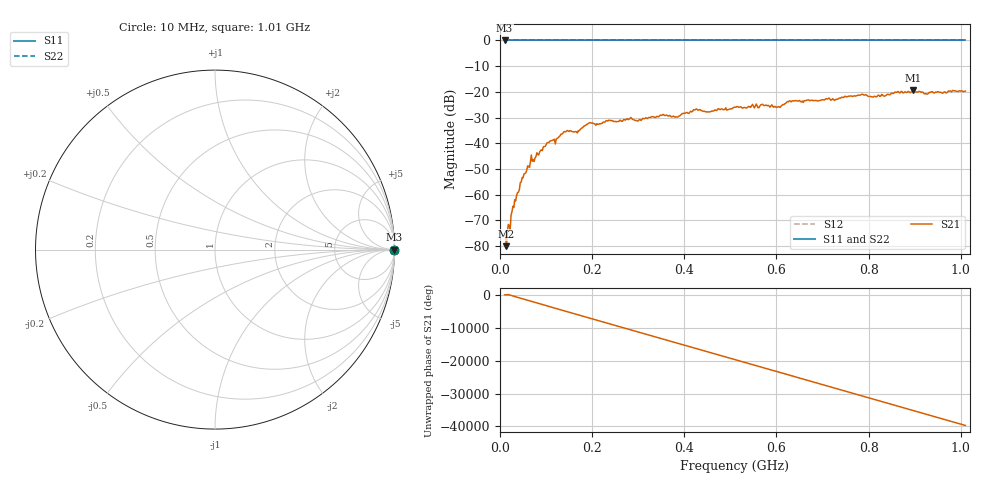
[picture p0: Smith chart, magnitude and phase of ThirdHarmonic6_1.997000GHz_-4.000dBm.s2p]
! 8/16/2025 11:59:37 PM
! C:\ANRITSUVNA\TEMP\TEMP.S2P
! CHANNEL.1
! TR.MEASUREMENT
! RAW.DATA
! RF.CORRECTION.OFF
! AVERAGING.OFF
! IF.BANDWIDTH: 5KHZ
! SWEEPTYPE:  FREQ.SWEEP(Linear)
! Reference Plane Port Info
! PORT:  PORT1  PORT2
! DISTANCE:  0  m  0  m
! TIME:  0  s  0  s
! PHASE.OFFSET:  0  deg.  0  deg.
! LOSS:  0  dB  0  dB
! REF.LOSS:  0  dB  0  dB
! REF.FREQ:  0  Hz  0  Hz
! Power Info
! POWER:  -20  dBm  -20  dBm
! EFF.POWER:  -20  dBm  -20  dBm
! SOURCE.ATTEN:  0  dB  0  dB
! TEST.ATTEN:  0  dB  0  dB
# GHZ S RI R 50.0
! FREQ.GHZ  S11RE  S11IM  S21RE  S21IM  S12RE  S12IM  S22RE  S22IM
!; PortSelection: Port_12
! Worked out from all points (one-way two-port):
!   501 points, 10 MHz to 1.01 GHz, reference 50 ohm
!   highest |S21| = -19.45 dB at 896 MHz (marker M1); lowest = -80.1 dB at 14 MHz (marker M2)
!   lowest |S11| = 0.0 dB at 10 MHz (marker M3)
!   |S11| at or under -10 dB: nowhere
!   |S22| runs from 0.0 to 0.0 dB; largest |S21 - S12| = 1.1
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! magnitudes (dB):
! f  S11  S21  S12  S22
! 10 MHz  0.0  -75.3  0.0  0.0
! 14 MHz  0.0  -80.1  0.0  0.0
! 18 MHz  0.0  -71.6  0.0  0.0
! 28 MHz  0.0  -64.5  0.0  0.0
! 48 MHz  0.0  -53.4  0.0  0.0
! 64 MHz  0.0  -49.5  0.0  0.0
! 106 MHz  0.0  -39.7  0.0  0.0
! 142 MHz  0.0  -35.6  0.0  0.0
! 164 MHz  0.0  -35.4  0.0  0.0
! 178 MHz  0.0  -34.0  0.0  0.0
! 196 MHz  0.0  -32.0  0.0  0.0
! 344 MHz  0.0  -29.7  0.0  0.0
! 384 MHz  0.0  -29.8  0.0  0.0
! 424 MHz  0.0  -27.0  0.0  0.0
! 452 MHz  0.0  -27.8  0.0  0.0
! 510 MHz  0.0  -26.0  0.0  0.0
! 604 MHz  0.0  -25.7  0.0  0.0
! 626 MHz  0.0  -23.9  0.0  0.0
! 678 MHz  0.0  -23.3  0.0  0.0
! 844 MHz  0.0  -21.1  0.0  0.0
! 896 MHz  0.0  -19.5  0.0  0.0
! 1.01 GHz  0.0  -19.7  0.0  0.0
